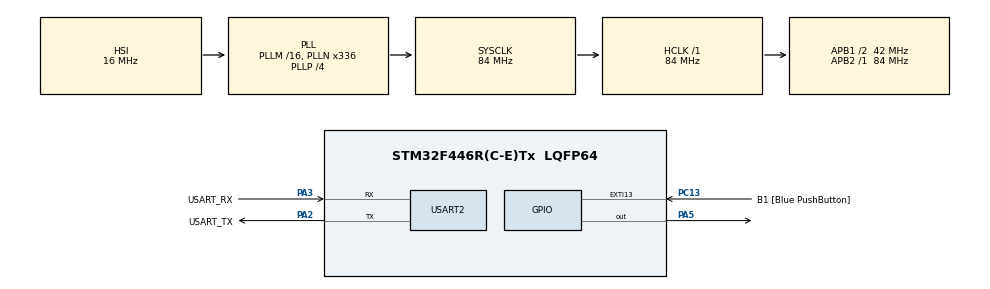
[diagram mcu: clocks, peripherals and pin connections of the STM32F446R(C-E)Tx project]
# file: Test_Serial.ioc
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Mcu.Family=STM32F4
Mcu.Name=STM32F446R(C-E)Tx
Mcu.Package=LQFP64
NVIC.PriorityGroup=NVIC_PRIORITYGROUP_0
NVIC.USART2_IRQn=true\:0\:0\:false\:false\:true\:true\:true\:true
PA13.GPIO_Label=TMS
PA13.Mode=Serial_Wire
PA13.Signal=SYS_JTMS-SWDIO
PA14.GPIO_Label=TCK
PA14.Mode=Serial_Wire
PA14.Signal=SYS_JTCK-SWCLK
PA2.GPIO_Label=USART_TX
PA2.Mode=Asynchronous
PA2.Signal=USART2_TX
PA3.GPIO_Label=USART_RX
PA3.Mode=Asynchronous
PA3.Signal=USART2_RX
PA5.Signal=GPIO_Output
PB3.GPIO_Label=SWO
PB3.Signal=SYS_JTDO-SWO
PC13.GPIO_Label=B1 [Blue PushButton]
PC13.GPIO_ModeDefaultEXTI=GPIO_MODE_IT_FALLING
PC13.Signal=GPXTI13
PC14-OSC32_IN.Mode=LSE-External-Oscillator
PC14-OSC32_IN.Signal=RCC_OSC32_IN
PC15-OSC32_OUT.Mode=LSE-External-Oscillator
PC15-OSC32_OUT.Signal=RCC_OSC32_OUT
PH0-OSC_IN.Mode=HSE-External-Oscillator
PH0-OSC_IN.Signal=RCC_OSC_IN
PH1-OSC_OUT.Mode=HSE-External-Oscillator
PH1-OSC_OUT.Signal=RCC_OSC_OUT
ProjectManager.HeapSize=0x200
ProjectManager.StackSize=0x400
ProjectManager.TargetToolchain=STM32CubeIDE
RCC.48MHZClocksFreq_Value=84000000
RCC.AHBFreq_Value=84000000
RCC.APB1CLKDivider=RCC_HCLK_DIV2
RCC.APB1Freq_Value=42000000
RCC.APB1TimFreq_Value=84000000
RCC.APB2Freq_Value=84000000
RCC.APB2TimFreq_Value=84000000
RCC.CortexFreq_Value=84000000
RCC.FLatency-AdvancedSettings=FLASH_LATENCY_2
RCC.HCLKFreq_Value=84000000
RCC.HSE_VALUE=8000000
RCC.HSI_VALUE=16000000
RCC.PLLN=336
RCC.PLLP=RCC_PLLP_DIV4
RCC.SYSCLKFreq_VALUE=84000000
RCC.SYSCLKSource=RCC_SYSCLKSOURCE_PLLCLK
RCC.USBFreq_Value=168000000
RCC.VCOOutputFreq_Value=336000000
USART2.VirtualMode=VM_ASYNC
board=NUCLEO-F446RE

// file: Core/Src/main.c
/* USER CODE BEGIN Header */
/**
  ******************************************************************************
  * @file           : main.c
  * @brief          : Main program body
  ******************************************************************************
  * @attention
  *
  * Copyright (c) 2024 STMicroelectronics.
  * All rights reserved.
  *
  * This software is licensed under terms that can be found in the LICENSE file
  * in the root directory of this software component.
  * If no LICENSE file comes with this software, it is provided AS-IS.
  *
  ******************************************************************************
  */
/* USER CODE END Header */
#include "main.h"

UART_HandleTypeDef huart2;

/* USER CODE BEGIN PV */
uint8_t led_on_buffer[20] = "LED ON";
uint8_t led_off_buffer[20] = "LED OFF";
uint8_t rx_indx;
uint8_t rx_data[2];
uint8_t rx_buffer[100];
uint8_t transfer_cplt;
uint8_t respone_data[50] = "SET PIN 5 OK\r\n";
/* USER CODE END PV */

void SystemClock_Config(void);
static void MX_GPIO_Init(void);
static void MX_USART2_UART_Init(void);

int main(void)
{

  /* MCU Configuration--------------------------------------------------------*/

  /* Reset of all peripherals, Initializes the Flash interface and the Systick. */
  HAL_Init();

  /* Configure the system clock */
  SystemClock_Config();

  /* Initialize all configured peripherals */
  MX_GPIO_Init();
  MX_USART2_UART_Init();
  /* USER CODE BEGIN 2 */
  HAL_UART_Receive_IT(&huart2, rx_data, 1);
  /* USER CODE END 2 */

  /* Infinite loop */
  while (1)
  {

  }
}

void SystemClock_Config(void)
{
  RCC_OscInitTypeDef RCC_OscInitStruct = {0};
  RCC_ClkInitTypeDef RCC_ClkInitStruct = {0};

  /** Configure the main internal regulator output voltage
  */
  __HAL_RCC_PWR_CLK_ENABLE();
  __HAL_PWR_VOLTAGESCALING_CONFIG(PWR_REGULATOR_VOLTAGE_SCALE3);

  /** Initializes the RCC Oscillators according to the specified parameters
  * in the RCC_OscInitTypeDef structure.
  */
  RCC_OscInitStruct.OscillatorType = RCC_OSCILLATORTYPE_HSI;
  RCC_OscInitStruct.HSIState = RCC_HSI_ON;
  RCC_OscInitStruct.HSICalibrationValue = RCC_HSICALIBRATION_DEFAULT;
  RCC_OscInitStruct.PLL.PLLState = RCC_PLL_ON;
  RCC_OscInitStruct.PLL.PLLSource = RCC_PLLSOURCE_HSI;
  RCC_OscInitStruct.PLL.PLLM = 16;
  RCC_OscInitStruct.PLL.PLLN = 336;
  RCC_OscInitStruct.PLL.PLLP = RCC_PLLP_DIV4;
  RCC_OscInitStruct.PLL.PLLQ = 2;
  RCC_OscInitStruct.PLL.PLLR = 2;
  if (HAL_RCC_OscConfig(&RCC_OscInitStruct) != HAL_OK)
  {
    Error_Handler();
  }

  /** Initializes the CPU, AHB and APB buses clocks
  */
  RCC_ClkInitStruct.ClockType = RCC_CLOCKTYPE_HCLK|RCC_CLOCKTYPE_SYSCLK
                              |RCC_CLOCKTYPE_PCLK1|RCC_CLOCKTYPE_PCLK2;
  RCC_ClkInitStruct.SYSCLKSource = RCC_SYSCLKSOURCE_PLLCLK;
  RCC_ClkInitStruct.AHBCLKDivider = RCC_SYSCLK_DIV1;
  RCC_ClkInitStruct.APB1CLKDivider = RCC_HCLK_DIV2;
  RCC_ClkInitStruct.APB2CLKDivider = RCC_HCLK_DIV1;

  if (HAL_RCC_ClockConfig(&RCC_ClkInitStruct, FLASH_LATENCY_2) != HAL_OK)
  {
    Error_Handler();
  }
}

static void MX_USART2_UART_Init(void)
{

  huart2.Instance = USART2;
  huart2.Init.BaudRate = 115200;
  huart2.Init.WordLength = UART_WORDLENGTH_8B;
  huart2.Init.StopBits = UART_STOPBITS_1;
  huart2.Init.Parity = UART_PARITY_NONE;
  huart2.Init.Mode = UART_MODE_TX_RX;
  huart2.Init.HwFlowCtl = UART_HWCONTROL_NONE;
  huart2.Init.OverSampling = UART_OVERSAMPLING_16;
  if (HAL_UART_Init(&huart2) != HAL_OK)
  {
    Error_Handler();
  }

}

static void MX_GPIO_Init(void)
{
  GPIO_InitTypeDef GPIO_InitStruct = {0};

  /* GPIO Ports Clock Enable */
  __HAL_RCC_GPIOC_CLK_ENABLE();
  __HAL_RCC_GPIOH_CLK_ENABLE();
  __HAL_RCC_GPIOA_CLK_ENABLE();
  __HAL_RCC_GPIOB_CLK_ENABLE();

  /*Configure GPIO pin Output Level */
  HAL_GPIO_WritePin(GPIOA, GPIO_PIN_5, GPIO_PIN_RESET);

  /*Configure GPIO pin : B1_Pin */
  GPIO_InitStruct.Pin = B1_Pin;
  GPIO_InitStruct.Mode = GPIO_MODE_IT_FALLING;
  GPIO_InitStruct.Pull = GPIO_NOPULL;
  HAL_GPIO_Init(B1_GPIO_Port, &GPIO_InitStruct);

  /*Configure GPIO pin : PA5 */
  GPIO_InitStruct.Pin = GPIO_PIN_5;
  GPIO_InitStruct.Mode = GPIO_MODE_OUTPUT_PP;
  GPIO_InitStruct.Pull = GPIO_NOPULL;
  GPIO_InitStruct.Speed = GPIO_SPEED_FREQ_LOW;
  HAL_GPIO_Init(GPIOA, &GPIO_InitStruct);

}

/* USER CODE BEGIN 4 */
void HAL_UART_RxCpltCallback(UART_HandleTypeDef *huart)
{
  /* Prevent unused argument(s) compilation warning */
  UNUSED(huart);
  /* NOTE: This function should not be modified, when the callback is needed,
           the HAL_UART_RxCpltCallback could be implemented in the user file
   */
  uint8_t i;
  if(huart->Instance == USART2)
  {
	  if(rx_indx == 0){
		  for(i = 0; i < 100; i++)
			  rx_buffer[i] = 0;
		  HAL_GPIO_WritePin(GPIOA, GPIO_PIN_5, GPIO_PIN_RESET);
	  }

	  if(rx_data[0] != 13){
		  rx_buffer[rx_indx++] = rx_data[0];
	  }
	  else{
		  rx_indx = 0;
		  transfer_cplt = 1;
		  HAL_UART_Transmit(&huart2, "\n\r", 2, 100);
		  if(!strcmp(rx_buffer, "LED ON"))
		  {
			  HAL_GPIO_WritePin(GPIOA, GPIO_PIN_5, GPIO_PIN_SET);
			  HAL_UART_Transmit(&huart2, respone_data, strlen(respone_data), 100);
		  }
	  }

	  HAL_UART_Receive_IT(&huart2, rx_data, 1);
	  HAL_UART_Transmit(&huart2, rx_data, strlen(rx_data), 100);
  }

  //HAL_UART_Transmit(&huart2, led_on_buffer, sizeof(led_on_buffer), 100);
}
/* USER CODE END 4 */

void Error_Handler(void)
{
  __disable_irq();
  while (1)
  {
  }
}
